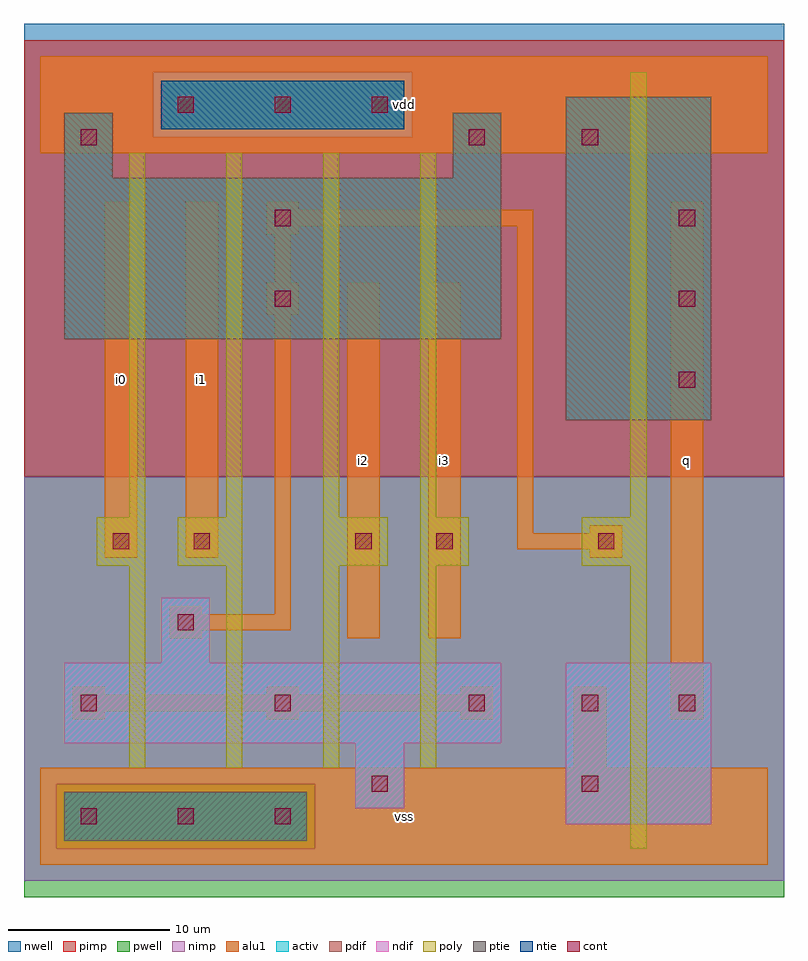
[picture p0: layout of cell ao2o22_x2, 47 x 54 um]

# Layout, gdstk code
import gdstk
lib = gdstk.Library(unit=1e-6, precision=1e-09)
def R(c, l, rs):  # rectangles x0, y0, x1, y1
    for r in rs: c.add(gdstk.rectangle(r[:2], r[2:], *l))
def A(c, l, x, y, w, h, nx, ny, dx, dy):  # array of equal rectangles
    R(c, l, [(x+i*dx, y+j*dy, x+i*dx+w, y+j*dy+h) for i in range(nx) for j in range(ny)])
ndif = (3, 0)
pdif = (4, 0)
ntie = (5, 0)
ptie = (6, 0)
cont = (25, 0)
pwell = (41, 0)
nwell = (42, 0)
activ = (43, 0)
pimp = (44, 0)
nimp = (45, 0)
poly = (46, 0)
alu1 = (49, 0)

ao2o22_x2 = lib.new_cell('ao2o22_x2')
R(ao2o22_x2, ndif, [(32.5,2.5,41.5,12.5), (19.5,3.5,22.5,7.5), (1.5,7.5,28.5,12.5), (7.5,12.5,10.5,16.5)])
R(ao2o22_x2, pdif, [(32.5,27.5,41.5,47.5), (1.5,32.5,28.5,42.5), (1.5,42.5,4.5,46.5), (25.5,42.5,28.5,46.5)])
R(ao2o22_x2, ntie, [(7.5,45.5,22.5,48.5)])
R(ao2o22_x2, ptie, [(1.5,1.5,16.5,4.5)])
A(ao2o22_x2, cont, 2.5, 2.5, 1, 1, 3, 1, 6, 0)
A(ao2o22_x2, cont, 2.5, 9.5, 1, 1, 3, 1, 12, 0)
A(ao2o22_x2, cont, 39.5, 29.5, 1, 1, 1, 3, 0, 5)
A(ao2o22_x2, cont, 8.5, 46.5, 1, 1, 3, 1, 6, 0)
R(ao2o22_x2, cont, [(20.5,4.5,21.5,5.5), (33.5,4.5,34.5,5.5), (33.5,9.5,34.5,10.5), (39.5,9.5,40.5,10.5), (8.5,14.5,9.5,15.5), (4.5,19.5,5.5,20.5), (9.5,19.5,10.5,20.5), (19.5,19.5,20.5,20.5), (24.5,19.5,25.5,20.5), (34.5,19.5,35.5,20.5), (14.5,34.5,15.5,35.5), (14.5,39.5,15.5,40.5), (2.5,44.5,3.5,45.5), (26.5,44.5,27.5,45.5), (33.5,44.5,34.5,45.5)])
R(ao2o22_x2, pwell, [(-1,-2,46,24)])
R(ao2o22_x2, nwell, [(-1,24,46,52)])
R(ao2o22_x2, activ, [(1.5,1.5,16.5,4.5), (32.5,2.5,41.5,12.5), (19.5,3.5,22.5,7.5), (1.5,7.5,28.5,12.5), (7.5,12.5,10.5,16.5), (32.5,27.5,41.5,47.5), (1.5,32.5,28.5,42.5), (1.5,42.5,4.5,46.5), (25.5,42.5,28.5,46.5), (7.5,45.5,22.5,48.5)])
R(ao2o22_x2, pimp, [(1,1,17,5), (-1,24,46,45), (-1,45,7,49), (23,45,46,49), (-1,49,46,51)])
R(ao2o22_x2, nimp, [(-1,-1,46,1), (-1,1,1,5), (17,1,46,5), (-1,5,46,24), (7,45,23,49)])
A(ao2o22_x2, poly, 5.5, 6, 1, 12.5, 4, 1, 6, 0)
A(ao2o22_x2, poly, 5.5, 21.5, 1, 22.5, 4, 1, 6, 0)
R(ao2o22_x2, poly, [(36.5,1,37.5,18.5), (3.5,18.5,6.5,21.5), (8.5,18.5,12.5,21.5), (17.5,18.5,21.5,21.5), (23.5,18.5,26.5,21.5), (33.5,18.5,37.5,21.5), (36.5,21.5,37.5,49)])
A(ao2o22_x2, alu1, 2, 9, 2, 0.5, 3, 2, 12, 1.5)
R(ao2o22_x2, alu1, [(0,0,45,6), (33,6,35,11), (39,9,41,41), (2,9.5,28,10.5), (8,14,10,14.5), (19,14,21,36), (24,14,26,36), (8,14.5,15.5,15.5), (8,15.5,10,16), (14.5,15.5,15.5,34), (4,19,6,41), (9,19,11,41), (34,19,36,19.5), (29.5,19.5,36,20.5), (29.5,20.5,30.5,39.5), (34,20.5,36,21), (14,34,16,36), (14.5,36,15.5,39), (14,39,16,39.5), (14,39.5,30.5,40.5), (14,40.5,16,41), (0,44,45,50)])
ao2o22_x2.add(gdstk.Label('i0', (5,30), layer=49, texttype=0))
ao2o22_x2.add(gdstk.Label('i2', (20,25), layer=49, texttype=0))
ao2o22_x2.add(gdstk.Label('i1', (10,30), layer=49, texttype=0))
ao2o22_x2.add(gdstk.Label('vss', (22.5,3), layer=49, texttype=0))
ao2o22_x2.add(gdstk.Label('i3', (25,25), layer=49, texttype=0))
ao2o22_x2.add(gdstk.Label('vdd', (22.5,47), layer=49, texttype=0))
ao2o22_x2.add(gdstk.Label('q', (40,25), layer=49, texttype=0))

lib.write_gds('ao2o22_x2.gds')
